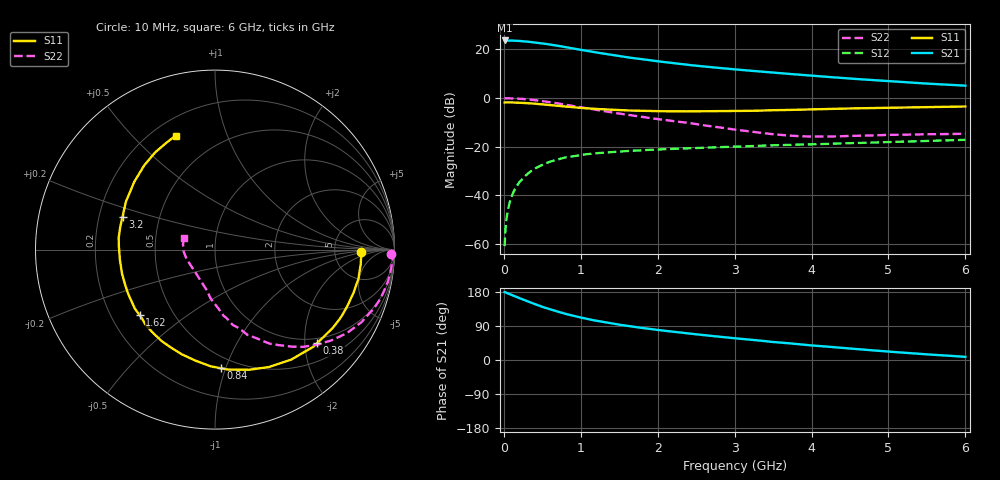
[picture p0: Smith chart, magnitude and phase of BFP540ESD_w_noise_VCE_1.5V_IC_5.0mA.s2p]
! Infineon Technologies  Discrete & RF Semiconductors
! BFP540ESD
! VCE =  1.5 V,  IC =  5.0 mA
! Common Emitter S-Parameters:  Nov 2015
# GHz  S  MA  R  50
!  f  S11  S21  S12  S22
! GHz  MAG  ANG  MAG  ANG  MAG  ANG  MAG  ANG
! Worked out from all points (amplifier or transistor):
!   210 points, 10 MHz to 6 GHz, reference 50 ohm
!   highest |S21| = 23.7 dB at 10 MHz (marker M1)
!   |S21| within 3 dB of that: start of sweep to 848.6 MHz
!   unconditionally stable (mu >= 1): 3.332 GHz to end of sweep
!   at 185 MHz: K = 0.06, MSG = 29.4 dB, |S12| = -35.3 dB
!   at 1.52 GHz: K = 0.50, MSG = 19.6 dB, |S12| = -21.9 dB
!   at 6 GHz: K = 1.23, MAG = 8.3 dB, |S12| = -17.2 dB
!   lowest NFmin = 0.69 dB at 900 MHz
!   S11 on the Smith chart (normalised r, x): 10 MHz: 9.52, -0.79; 380 MHz: 0.89, -2.28; 840 MHz: 0.41, -0.96; 1.62 GHz: 0.32, -0.34; 3.2 GHz: 0.30, +0.16; 6 GHz: 0.29, +0.67
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0.01  0.8111 -1.0  15.33 179.0  0.0009 113.4  0.9811 -1.4
0.025  0.8151 -3.2  15.25 178.2  0.0024 80.5  0.9907 -1.6
0.05  0.816 -5.7  15.28 175.9  0.0048 84.6  0.9905 -3.4
0.15  0.8086 -17.1  15.18 167.7  0.014 80.8  0.9804 -10.2
0.28  0.7905 -31.6  14.64 157.1  0.0251 75.1  0.9506 -18.8
0.38  0.7716 -42.4  14.08 149.4  0.0337 69.9  0.917 -25.0
0.5  0.7455 -55.3  13.4 140.3  0.0423 64.6  0.8695 -32.4
0.6  0.7198 -65.4  12.61 133.6  0.0492 60.4  0.8238 -37.8
0.7  0.6954 -74.3  11.93 127.7  0.0547 56.1  0.7792 -42.8
0.84  0.662 -87.1  10.91 119.8  0.0614 51.3  0.7136 -49.3
1.02  0.6249 -101.1  9.72 111.2  0.0683 46.3  0.6387 -56.4
1.1  0.6122 -107.5  9.255 107.5  0.0709 44.0  0.6073 -59.7
1.28  0.5909 -119.2  8.294 100.9  0.0751 40.1  0.5464 -64.8
1.5  0.5698 -132.7  7.311 93.2  0.0796 36.5  0.4811 -71.1
1.62  0.5563 -138.9  6.854 89.7  0.0819 35.0  0.4502 -74.0
2.02  0.5379 -158.3  5.666 78.8  0.0878 30.7  0.3679 -82.9
2.56  0.5342 -179.4  4.531 66.5  0.0948 26.8  0.2818 -93.7
3.1  0.5442 163.3  3.777 55.6  0.1014 24.0  0.2152 -105.6
3.2  0.5469 160.4  3.662 53.7  0.1028 23.4  0.2055 -108.6
4.1  0.5911 137.9  2.815 36.9  0.1131 18.8  0.1615 -147.0
5.1  0.6386 120.2  2.183 20.7  0.1259 14.2  0.1758 -179.5
6  0.672 109.1  1.803 8.3  0.1386 10.9  0.1848 158.8
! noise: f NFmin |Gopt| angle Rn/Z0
0.9  0.69  0.1  42  0.12
1.8  0.92  0.1  123  0.11
2.4  0.94  0.12  135  0.1
3  1.1  0.2  165  0.09
4  1.26  0.29  -127  0.15
5  1.53  0.41  -101  0.32
6  1.74  0.53  -100  0.46
